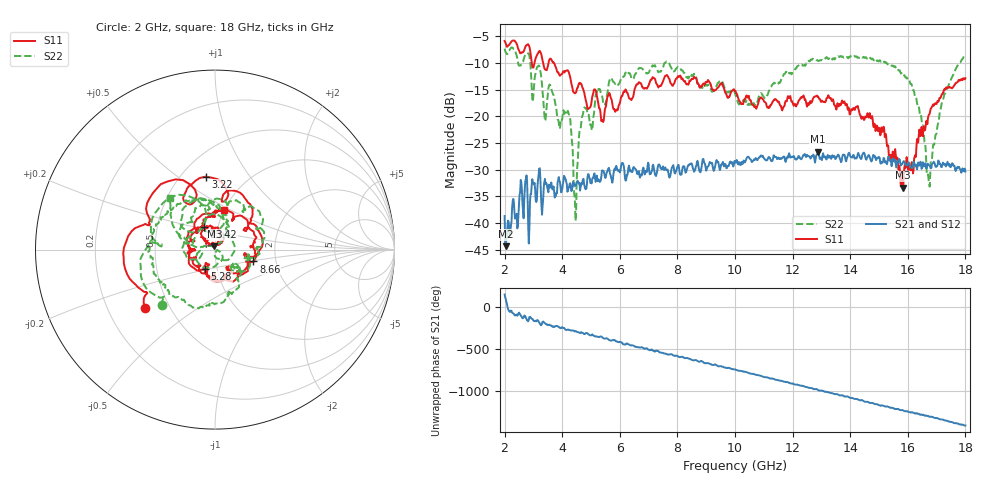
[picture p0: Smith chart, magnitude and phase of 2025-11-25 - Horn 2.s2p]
#  HZ  S  RI  R  50.00
! Rohde & Schwarz ZVA67 4Ports - Version 4.11 - 1305.7002k04 SN: 101319
! Date: 2025-11-25 18:16:03
! Measurements: S11 S21 S12 S22
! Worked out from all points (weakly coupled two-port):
!   801 points, 2 GHz to 18 GHz, reference 50 ohm
!   highest |S21| = -26.67 dB at 12.88 GHz (marker M1); lowest = -44.4 dB at 2.04 GHz (marker M2)
!   lowest |S11| = -33.4 dB at 15.84 GHz (marker M3), VSWR 1.04, Z = 49.6 + j2.08 ohm
!   |S11| at or under -10 dB: 2.944 GHz to 3.036 GHz (92.14 MHz wide, 3.08 % of centre); 3.34 GHz to 3.526 GHz (186.8 MHz wide, 5.44 % of centre); 3.713 GHz to end of sweep
!   |S22| runs from -39.6 to -7.1 dB; largest |S21 - S12| = 0.0014
!   S11 on the Smith chart (normalised r, x): 2 GHz: 0.36, -0.32; 3.22 GHz: 0.65, +0.64; 5.28 GHz: 0.88, -0.19; 8.66 GHz: 1.53, -0.21; 13.42 GHz: 0.86, +0.22; 18 GHz: 0.99, +0.46
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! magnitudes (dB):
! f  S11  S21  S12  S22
! 2 GHz  -5.9  -38.7  -38.8  -7.3
! 2.04 GHz  -6.4  -44.4  -44.4  -8.0
! 3.22 GHz  -7.8  -29.8  -29.8  -10.9
! 3.4 GHz  -11.2  -31.7  -31.8  -20.9
! 3.6 GHz  -9.2  -33.2  -33.3  -14.4
! 3.9 GHz  -12.3  -32.1  -32.1  -22.2
! 4.2 GHz  -11.4  -34.0  -34.0  -19.0
! 4.46 GHz  -15.6  -33.1  -33.1  -39.6
! 4.68 GHz  -14.2  -32.8  -32.8  -20.3
! 5.28 GHz  -18.5  -32.2  -32.2  -15.1
! 7.34 GHz  -14.6  -29.1  -29.1  -11.8
! 8.66 GHz  -13.0  -29.3  -29.3  -12.8
! 10 GHz  -15.2  -28.4  -28.4  -15.7
! 12.68 GHz  -17.2  -27.5  -27.6  -9.4
! 12.88 GHz  -16.3  -26.7  -26.8  -9.6
! 13.42 GHz  -17.2  -27.6  -27.7  -9.1
! 15.34 GHz  -27.2  -27.6  -27.6  -10.3
! 15.84 GHz  -33.4  -28.6  -28.7  -12.5
! 16.38 GHz  -23.8  -28.9  -29.0  -18.1
! 16.72 GHz  -19.9  -29.2  -29.2  -31.7
! 17.24 GHz  -15.4  -29.0  -29.0  -16.6
! 18 GHz  -12.9  -30.4  -30.4  -8.4
